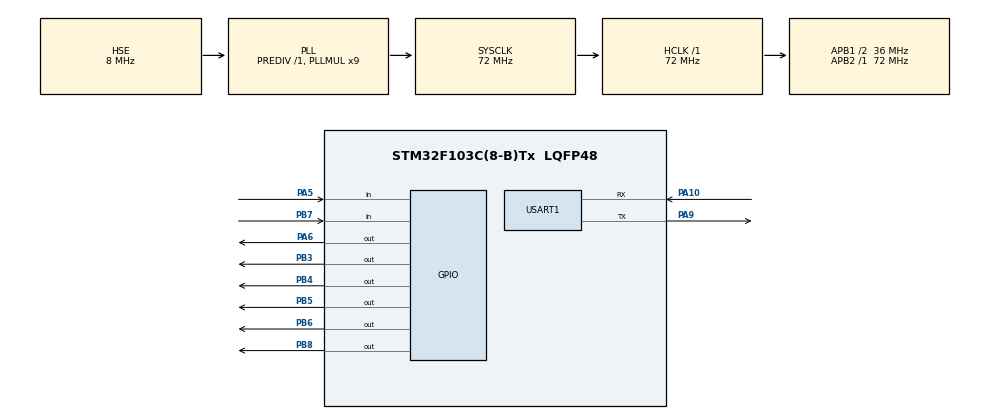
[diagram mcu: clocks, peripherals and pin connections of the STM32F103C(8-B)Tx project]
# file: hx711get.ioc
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Mcu.Family=STM32F1
Mcu.Name=STM32F103C(8-B)Tx
Mcu.Package=LQFP48
NVIC.PriorityGroup=NVIC_PRIORITYGROUP_4
PA10.Mode=Asynchronous
PA10.Signal=USART1_RX
PA13.Mode=Serial_Wire
PA13.Signal=SYS_JTMS-SWDIO
PA14.Mode=Serial_Wire
PA14.Signal=SYS_JTCK-SWCLK
PA5.Signal=GPIO_Input
PA6.Signal=GPIO_Output
PA9.Mode=Asynchronous
PA9.Signal=USART1_TX
PB3.Signal=GPIO_Output
PB4.Signal=GPIO_Output
PB5.Signal=GPIO_Output
PB6.Signal=GPIO_Output
PB7.Signal=GPIO_Input
PB8.Signal=GPIO_Output
PC14-OSC32_IN.Mode=LSE-External-Oscillator
PC14-OSC32_IN.Signal=RCC_OSC32_IN
PC15-OSC32_OUT.Mode=LSE-External-Oscillator
PC15-OSC32_OUT.Signal=RCC_OSC32_OUT
PD0-OSC_IN.Mode=HSE-External-Oscillator
PD0-OSC_IN.Signal=RCC_OSC_IN
PD1-OSC_OUT.Mode=HSE-External-Oscillator
PD1-OSC_OUT.Signal=RCC_OSC_OUT
ProjectManager.HeapSize=0x200
ProjectManager.StackSize=0x400
ProjectManager.TargetToolchain=MDK-ARM V5.32
RCC.AHBFreq_Value=72000000
RCC.APB1CLKDivider=RCC_HCLK_DIV2
RCC.APB1Freq_Value=36000000
RCC.APB1TimFreq_Value=72000000
RCC.APB2Freq_Value=72000000
RCC.APB2TimFreq_Value=72000000
RCC.HCLKFreq_Value=72000000
RCC.PLLMUL=RCC_PLL_MUL9
RCC.PLLSourceVirtual=RCC_PLLSOURCE_HSE
RCC.SYSCLKFreq_VALUE=72000000
RCC.SYSCLKSource=RCC_SYSCLKSOURCE_PLLCLK
RCC.USBFreq_Value=72000000
USART1.VirtualMode=VM_ASYNC
board=hx711get

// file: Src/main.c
/* USER CODE BEGIN Header */
/**
  ******************************************************************************
  * @file           : main.c
  * @brief          : Main program body
  ******************************************************************************
  * @attention
  *
  * Copyright (c) 2022 STMicroelectronics.
  * All rights reserved.
  *
  * This software is licensed under terms that can be found in the LICENSE file
  * in the root directory of this software component.
  * If no LICENSE file comes with this software, it is provided AS-IS.
  *
  ******************************************************************************
  */
/* USER CODE END Header */
#include "main.h"
#include "usart.h"
#include "gpio.h"

/* USER CODE BEGIN Includes */
#include "oled.h"
#include "bmp.h"

#include "stdio.h"
#ifdef __GNUC__
  /* With GCC/RAISONANCE, small printf (option LD Linker->Libraries->Small printf
     set to 'Yes') calls __io_putchar() */
  #define PUTCHAR_PROTOTYPE int __io_putchar(int ch)
#else
  #define PUTCHAR_PROTOTYPE int fputc(int ch, FILE *f)
#endif /* __GNUC__ */
/**
  * @brief  Retargets the C library printf function to the USART.
  * @param  None
  * @retval None
  */
PUTCHAR_PROTOTYPE
{
  /* Place your implementation of fputc here */
  /* e.g. write a character to the EVAL_COM1 and Loop until the end of transmission */
  HAL_UART_Transmit(&huart1, (uint8_t *)&ch, 1, 0xFFFF);

  return ch;
}
/* USER CODE END Includes */

/* USER CODE BEGIN PV */
/* Private variables ---------------------------------------------------------*/
uint32_t HX711_Buffer;
uint32_t Weight_Maopi;
signed long Weight_Shiwu;
//当发现测试出来的重量偏大时，增加该数值。
//2100对应的是1kg量程传感器的参数值
//（3kg量程在750左右，5kg量程在430左右，10kg量程在210左右，20kg在110左右）
//测量结果偏大，增加改值进行校准，如果测试出来的重量偏小时，减小改数值。
//该值可以为小数.
/*
接口：
压力传感器：
VCC   5V
GND   GND
DT    PA5
SCK   PA6
串口：
RX    PA9
TX    PA10
带字库1.3OLED屏幕
GND   GND
VCC   3.3
CLK   PB3
MOSI  PB4
DC    PB5
CS1   PB6
FS0   PB7
CS2   PB8
*/
#define GapValue 474.5
/* USER CODE END PV */

void SystemClock_Config(void);
/* USER CODE BEGIN PFP */
/* Private function prototypes -----------------------------------------------*/
unsigned long HX711_Read(void);	//增益128,读取HX711转换值
void delay_us(uint8_t value);//延时函数
void Get_Weight(void);//得到压力传感器数值
void Get_Maopi(void);
/* USER CODE END PFP */

int main(void)
{

  /* MCU Configuration--------------------------------------------------------*/

  /* Reset of all peripherals, Initializes the Flash interface and the Systick. */
  HAL_Init();

  /* Configure the system clock */
  SystemClock_Config();

  /* Initialize all configured peripherals */
  MX_GPIO_Init();
  MX_USART1_UART_Init();
  /* USER CODE BEGIN 2 */
	HAL_GPIO_WritePin(GPIOA,GPIO_PIN_6,GPIO_PIN_RESET);//让交互力传感器工作在正常状态

	OLED_Init();//屏幕初始化
	Get_Maopi();//获取皮重
  /* USER CODE END 2 */

  /* Infinite loop */
  while (1)
  {

    /* USER CODE BEGIN 3 */
		Get_Weight();//获取重量
		HAL_Delay(200);
  }
  /* USER CODE END 3 */
}

void SystemClock_Config(void)
{
  RCC_OscInitTypeDef RCC_OscInitStruct = {0};
  RCC_ClkInitTypeDef RCC_ClkInitStruct = {0};

  /** Initializes the RCC Oscillators according to the specified parameters
  * in the RCC_OscInitTypeDef structure.
  */
  RCC_OscInitStruct.OscillatorType = RCC_OSCILLATORTYPE_HSE;
  RCC_OscInitStruct.HSEState = RCC_HSE_ON;
  RCC_OscInitStruct.HSEPredivValue = RCC_HSE_PREDIV_DIV1;
  RCC_OscInitStruct.HSIState = RCC_HSI_ON;
  RCC_OscInitStruct.PLL.PLLState = RCC_PLL_ON;
  RCC_OscInitStruct.PLL.PLLSource = RCC_PLLSOURCE_HSE;
  RCC_OscInitStruct.PLL.PLLMUL = RCC_PLL_MUL9;
  if (HAL_RCC_OscConfig(&RCC_OscInitStruct) != HAL_OK)
  {
    Error_Handler();
  }
  /** Initializes the CPU, AHB and APB buses clocks
  */
  RCC_ClkInitStruct.ClockType = RCC_CLOCKTYPE_HCLK|RCC_CLOCKTYPE_SYSCLK
                              |RCC_CLOCKTYPE_PCLK1|RCC_CLOCKTYPE_PCLK2;
  RCC_ClkInitStruct.SYSCLKSource = RCC_SYSCLKSOURCE_PLLCLK;
  RCC_ClkInitStruct.AHBCLKDivider = RCC_SYSCLK_DIV1;
  RCC_ClkInitStruct.APB1CLKDivider = RCC_HCLK_DIV2;
  RCC_ClkInitStruct.APB2CLKDivider = RCC_HCLK_DIV1;

  if (HAL_RCC_ClockConfig(&RCC_ClkInitStruct, FLASH_LATENCY_2) != HAL_OK)
  {
    Error_Handler();
  }
}

/* USER CODE BEGIN 4 */
void delay_us(uint8_t value)
{
	uint8_t i;
	for(i=value;i>0;i--);
}

unsigned long HX711_Read(void)	//增益128
{
		unsigned long count;
		unsigned char i;
  	HAL_GPIO_WritePin(GPIOA,GPIO_PIN_6,GPIO_PIN_RESET);//模块没准备好时，单片机在CLK线上输出低电平
  	count=0;
	  int ii=0;
		while(1)
		{
			if(HAL_GPIO_ReadPin(GPIOA,GPIO_PIN_5)==0)
			{
				delay_us(1);
				if(HAL_GPIO_ReadPin(GPIOA,GPIO_PIN_5)==0)
				{
					break;
				}
			}

			ii++;
			if(ii>=1000000)
			{
				break;
			}
		}
		delay_us(1);
  	for(i=0;i<24;i++)
	{
			HAL_GPIO_WritePin(GPIOA,GPIO_PIN_6,GPIO_PIN_SET);
			delay_us(1);
	  	count=count<<1;
			HAL_GPIO_WritePin(GPIOA,GPIO_PIN_6,GPIO_PIN_RESET);
	  	if(HAL_GPIO_ReadPin(GPIOA,GPIO_PIN_5)==1)//读入数据
			{
				count++;
			}

	}
		HAL_GPIO_WritePin(GPIOA,GPIO_PIN_6,GPIO_PIN_SET);
	  delay_us(2);
    count=count^0x800000;//第25个脉冲下降沿来时，转换数据
		HAL_GPIO_WritePin(GPIOA,GPIO_PIN_6,GPIO_PIN_RESET);
		return(count);
}

void Get_Maopi(void)
{
	Weight_Maopi = HX711_Read();
}

void Get_Weight(void)
{
		HX711_Buffer = HX711_Read();
	if(HX711_Buffer > Weight_Maopi-200)
	{
		Weight_Shiwu = HX711_Buffer;
		Weight_Shiwu = Weight_Shiwu - Weight_Maopi;				//去皮
		Weight_Shiwu = (signed long)((float)Weight_Shiwu/GapValue);
		printf("实际重量为%dg\n\r",Weight_Shiwu);
		OLED_ShowNum(5,0,Weight_Shiwu,6);
	}
}
/* USER CODE END 4 */

void Error_Handler(void)
{
  while(1)
  {
  }
}
